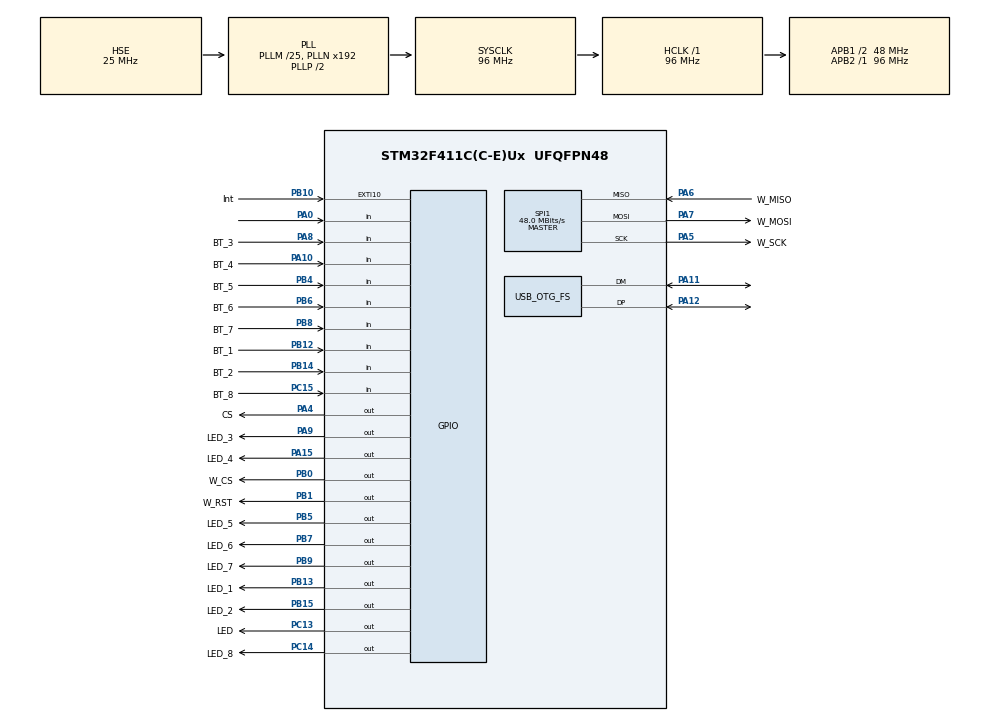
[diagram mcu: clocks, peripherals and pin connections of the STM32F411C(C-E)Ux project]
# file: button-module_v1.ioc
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AL94.I-CUBE-USBD-COMPOSITE.1.0.1.CompositeCcUSBJjCOMPOSITEJjCDCIiACM=true
AL94.I-CUBE-USBD-COMPOSITE.1.0.1.CompositeCcUSBJjCOMPOSITEJjCOMPOSITE=true
AL94.I-CUBE-USBD-COMPOSITE.1.0.1.CompositeCcUSBJjCOMPOSITEJjCore=true
AL94.I-CUBE-USBD-COMPOSITE.1.0.1.CompositeCcUSBJjCOMPOSITEJjHIDIiKEYBOARD=true
AL94.I-CUBE-USBD-COMPOSITE.1.0.1.CompositeCcUSBJjCOMPOSITEJjMSCIiBOT=true
AL94.I-CUBE-USBD-COMPOSITE.1.0.1._USBD_USE_CDC_ACM=true
AL94.I-CUBE-USBD-COMPOSITE.1.0.1._USBD_USE_HID_KEYBOARD=true
AL94.I-CUBE-USBD-COMPOSITE.1.0.1._USBD_USE_MSC=true
FATFS._MAX_SS=4096
FATFS._USE_FIND=1
FATFS._USE_LFN=2
FREERTOS.Tasks01=defaultTask,24,128,StartDefaultTask,Default,NULL,Dynamic,NULL,NULL;buttons_task,24,512,buttons_func,Default,NULL,Dynamic,NULL,NULL;cdc_task,8,512,cdc_func,Default,NULL,Dynamic,NULL,NULL;ethernet_task,8,1024,ethernet_func,Default,NULL,Dynamic,NULL,NULL
FREERTOS.configTIMER_TASK_PRIORITY=6
FREERTOS.configUSE_NEWLIB_REENTRANT=1
Mcu.Family=STM32F4
Mcu.Name=STM32F411C(C-E)Ux
Mcu.Package=UFQFPN48
NVIC.EXTI15_10_IRQn=true\:5\:0\:false\:false\:true\:true\:true\:true\:true
NVIC.OTG_FS_IRQn=true\:5\:0\:false\:false\:true\:true\:true\:true\:true
NVIC.PriorityGroup=NVIC_PRIORITYGROUP_4
NVIC.TIM1_BRK_TIM9_IRQn=true\:5\:0\:false\:false\:true\:true\:true\:true\:true
NVIC.TIM2_IRQn=true\:5\:0\:false\:false\:true\:true\:true\:true\:true
NVIC.TIM3_IRQn=true\:15\:0\:false\:false\:true\:false\:false\:true\:true
NVIC.TIM4_IRQn=true\:5\:0\:false\:false\:true\:true\:true\:true\:true
NVIC.TimeBase=TIM3_IRQn
NVIC.TimeBaseIP=TIM3
PA0-WKUP.Signal=GPIO_Input
PA10.GPIO_Label=BT_4
PA10.Signal=GPIO_Input
PA11.Mode=Device_Only
PA11.Signal=USB_OTG_FS_DM
PA12.Mode=Device_Only
PA12.Signal=USB_OTG_FS_DP
PA13.Mode=Trace_Asynchronous_SW
PA13.Signal=SYS_JTMS-SWDIO
PA14.Mode=Trace_Asynchronous_SW
PA14.Signal=SYS_JTCK-SWCLK
PA15.GPIO_Label=LED_4
PA15.Signal=GPIO_Output
PA4.GPIO_Label=CS
PA4.GPIO_Speed=GPIO_SPEED_FREQ_HIGH
PA4.PinState=GPIO_PIN_SET
PA4.Signal=GPIO_Output
PA5.GPIO_Label=W_SCK
PA5.Mode=Full_Duplex_Master
PA5.Signal=SPI1_SCK
PA6.GPIO_Label=W_MISO
PA6.Mode=Full_Duplex_Master
PA6.Signal=SPI1_MISO
PA7.GPIO_Label=W_MOSI
PA7.Mode=Full_Duplex_Master
PA7.Signal=SPI1_MOSI
PA8.GPIO_Label=BT_3
PA8.Signal=GPIO_Input
PA9.GPIO_Label=LED_3
PA9.Signal=GPIO_Output
PB0.GPIO_Label=W_CS
PB0.Signal=GPIO_Output
PB1.GPIO_Label=W_RST
PB1.Signal=GPIO_Output
PB10.GPIO_Label=Int
PB10.GPIO_ModeDefaultEXTI=GPIO_MODE_IT_FALLING
PB10.GPIO_PuPd=GPIO_PULLUP
PB10.Signal=GPXTI10
PB12.GPIO_Label=BT_1
PB12.Signal=GPIO_Input
PB13.GPIO_Label=LED_1
PB13.Signal=GPIO_Output
PB14.GPIO_Label=BT_2
PB14.Signal=GPIO_Input
PB15.GPIO_Label=LED_2
PB15.Signal=GPIO_Output
PB3.Mode=Trace_Asynchronous_SW
PB3.Signal=SYS_JTDO-SWO
PB4.GPIO_Label=BT_5
PB4.Signal=GPIO_Input
PB5.GPIO_Label=LED_5
PB5.Signal=GPIO_Output
PB6.GPIO_Label=BT_6
PB6.Signal=GPIO_Input
PB7.GPIO_Label=LED_6
PB7.Signal=GPIO_Output
PB8.GPIO_Label=BT_7
PB8.Signal=GPIO_Input
PB9.GPIO_Label=LED_7
PB9.Signal=GPIO_Output
PC13-ANTI_TAMP.GPIO_Label=LED
PC13-ANTI_TAMP.Signal=GPIO_Output
PC14-OSC32_IN.GPIO_Label=LED_8
PC14-OSC32_IN.Signal=GPIO_Output
PC15-OSC32_OUT.GPIO_Label=BT_8
PC15-OSC32_OUT.Signal=GPIO_Input
PH0\ -\ OSC_IN.Mode=HSE-External-Oscillator
PH0\ -\ OSC_IN.Signal=RCC_OSC_IN
PH1\ -\ OSC_OUT.Mode=HSE-External-Oscillator
PH1\ -\ OSC_OUT.Signal=RCC_OSC_OUT
ProjectManager.HeapSize=0x200
ProjectManager.StackSize=0x1000
ProjectManager.TargetToolchain=STM32CubeIDE
RCC.48MHZClocksFreq_Value=48000000
RCC.AHBFreq_Value=96000000
RCC.APB1CLKDivider=RCC_HCLK_DIV2
RCC.APB1Freq_Value=48000000
RCC.APB1TimFreq_Value=96000000
RCC.APB2Freq_Value=96000000
RCC.APB2TimFreq_Value=96000000
RCC.CortexFreq_Value=96000000
RCC.HCLKFreq_Value=96000000
RCC.HSE_VALUE=25000000
RCC.HSI_VALUE=16000000
RCC.LSE_VALUE=32768
RCC.PLLM=25
RCC.SYSCLKFreq_VALUE=96000000
RCC.SYSCLKSource=RCC_SYSCLKSOURCE_PLLCLK
RCC.VCOOutputFreq_Value=192000000
SPI1.BaudRatePrescaler=SPI_BAUDRATEPRESCALER_2
SPI1.CalculateBaudRate=48.0 MBits/s
SPI1.Direction=SPI_DIRECTION_2LINES
SPI1.Mode=SPI_MODE_MASTER
SPI1.VirtualType=VM_MASTER
TIM2.Period=1000-1
TIM2.Prescaler=100-1
TIM4.Period=500-1
TIM4.Prescaler=1000-1
TIM9.ClockDivision=TIM_CLOCKDIVISION_DIV2
TIM9.Period=100
TIM9.Prescaler=48000
USB_OTG_FS.VirtualMode=Device_Only
VP_AL94.I-CUBE-USBD-COMPOSITE_VS_USBJjComposite_1.0.0_1.0.1.Mode=USBJjComposite
VP_FATFS_VS_Generic.Mode=User_defined
VP_FREERTOS_VS_CMSIS_V2.Mode=CMSIS_V2
VP_SYS_VS_tim3.Mode=TIM3
VP_TIM2_VS_ClockSourceINT.Mode=Internal
VP_TIM4_VS_ClockSourceINT.Mode=Internal
VP_TIM9_VS_ClockSourceINT.Mode=Internal
board=custom

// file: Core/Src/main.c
/* USER CODE BEGIN Header */
/**
 ******************************************************************************
 * @file           : main.c
 * @brief          : Main program body
 ******************************************************************************
 * @attention
 *
 * <h2><center>&copy; Copyright (c) 2021 STMicroelectronics.
 * All rights reserved.</center></h2>
 *
 * This software component is licensed by ST under BSD 3-Clause license,
 * the "License"; You may not use this file except in compliance with the
 * License. You may obtain a copy of the License at:
 *                        opensource.org/licenses/BSD-3-Clause
 *
 ******************************************************************************
 */
/* USER CODE END Header */
#include "main.h"
#include "cmsis_os.h"
#include "fatfs.h"
#include "spi.h"
#include "tim.h"
#include "usb_otg.h"
#include "gpio.h"

/* USER CODE BEGIN Includes */

#include <stdio.h>
#include <string.h>
#include "stdlib.h"

#include "w25qxx.h"

#include "ini.h"

#include "math.h"

#include "USB.h"

#include "../config/config.h"

/* USER CODE END Includes */

/* USER CODE BEGIN PM */

#define ETH_BUFF_SIZE 255
#define MAX_BRIGHT 250
#define MIN_BRIGHT 50
#define FRONT_SIZE 20048

#define NUM_OF_BUTTONS 8

/* USER CODE END PM */

/* USER CODE BEGIN PV */

int flag_report;

//int tempRight,tempLeft;
uint32_t LED_tick;
uint32_t GESTURE_tick;

//uint8_t *front;
uint8_t ledRefreshFlag = 0;
uint32_t prevTick = 0;

//----int gesture = DIR_NONE;
//----int prevGesture = DIR_NONE;
//uint32_t gestureTik;
uint32_t lastGesture = 0;
uint16_t waTick;
//uint8_t waFlag;

extern configuration config;

/* definition and creation of LED_queue */

uint8_t flagSensorReset = 1;

FRESULT res;
FATFS fs;
DIR dir; /* Directory object */
FILINFO fno; /* File information */
uint8_t bb[_MAX_SS];

//uint8_t button_mass[2][8];

//
//uint16_t ledPins[NUM_OF_BUTTONS];
//GPIO_TypeDef *ledPorts[NUM_OF_BUTTONS];
//uint8_t ledState[NUM_OF_BUTTONS];
//uint8_t flag_led_state_update;

/* USER CODE END PV */

void SystemClock_Config(void);
void MX_FREERTOS_Init(void);
/* USER CODE BEGIN PFP */
//--------------------------------------------------------------------------------------------------
//--------------------------------------------------------------------------------------------------
//--------------------------------------------------------------------------------------------------
int _write(int file, char *ptr, int len) {
	// Implement your write code here, this is used by puts and printf for example
	int i = 0;
	for (i = 0; i < len; i++)
		ITM_SendChar((*ptr++));
	return len;
}

//--------------------------------------------------------------------------------------------------
void w25qSetBlockProtectt(uint8_t protect) {
	uint8_t temp[] = { 0x50, 0x00 };

	HAL_GPIO_WritePin(CS_GPIO_Port, CS_Pin, GPIO_PIN_RESET);
	HAL_SPI_Transmit(&hspi1, temp, 1, 100);
	HAL_GPIO_WritePin(CS_GPIO_Port, CS_Pin, GPIO_PIN_SET);

	temp[0] = 0x01;
	temp[1] = ((protect & 0x0F) << 2);

	HAL_GPIO_WritePin(CS_GPIO_Port, CS_Pin, GPIO_PIN_RESET);
	HAL_SPI_Transmit(&hspi1, temp, 2, 100);
	HAL_GPIO_WritePin(CS_GPIO_Port, CS_Pin, GPIO_PIN_RESET);
}

/* USER CODE END PFP */

int main(void)
{

  /* MCU Configuration--------------------------------------------------------*/

  /* Reset of all peripherals, Initializes the Flash interface and the Systick. */
  HAL_Init();

  /* Configure the system clock */
  SystemClock_Config();

  /* Initialize all configured peripherals */
  MX_GPIO_Init();
  MX_SPI1_Init();
  MX_TIM2_Init();
  MX_TIM4_Init();
  MX_USB_OTG_FS_PCD_Init();
  MX_FATFS_Init();
  MX_TIM9_Init();
  /* USER CODE BEGIN 2 */
	//--------------------------------------------------------------------------------------------------
	printf("Hello\r\n");

	 W25qxx_Init();
	 //W25qxx_EraseChip();
	 //res = f_mkfs("", FM_FAT, 4096, bb, _MAX_SS);

	 res = f_mount(&fs, "", 1);
	 if (res == FR_OK) {
	 printf("mount FS OK\r\n");
	 } else if (res == 13) {
	 res = f_mkfs("", FM_FAT, 4096, bb, _MAX_SS);
	 printf("Formst disk:  %d \r\n", res);
	 } else {
	 printf("mount Fail:  %d \r\n", res);
	 }

	 set_default_config();

	 res = f_opendir(&dir, "/");
	 if (res == FR_OK) {
	 res = f_findfirst(&dir, &fno, fno.fname, "*.ini");
	 if (res == FR_OK && fno.fname[0]) {
	 printf("found file  %s \r\n", fno.fname);
	 } else {
	 write_default_config();
	 }
	 }

	 res = ini_parse_fatfs("config.ini", configReader, &config);
	 if (res < 0) {
	 printf("Can't load 'config.ini', set default\n");
	 char error_string[100];
	 sprintf(error_string, "Fail read Config.ini, chek line %d", res);
	 writeErrorTxt(error_string);
	 }

	 res = f_mount(NULL, "", 1);
	 if (res != FR_OK) {
	 printf("unMount FS fail: %d\r\n", res);
	 }

	//--------------------------------------------------------------------------------------------------
	//--------------------------------------------------------------------------------------------------
  /* USER CODE END 2 */

  /* Init scheduler */
  osKernelInitialize();  /* Call init function for freertos objects (in freertos.c) */
  MX_FREERTOS_Init();

  /* Start scheduler */
  osKernelStart();

  /* We should never get here as control is now taken by the scheduler */
  /* Infinite loop */
	while (1) {

    /* USER CODE BEGIN 3 */

		//HAL_Delay(1);

	}
  /* USER CODE END 3 */
}

void SystemClock_Config(void)
{
  RCC_OscInitTypeDef RCC_OscInitStruct = {0};
  RCC_ClkInitTypeDef RCC_ClkInitStruct = {0};

  /** Configure the main internal regulator output voltage
  */
  __HAL_RCC_PWR_CLK_ENABLE();
  __HAL_PWR_VOLTAGESCALING_CONFIG(PWR_REGULATOR_VOLTAGE_SCALE1);

  /** Initializes the RCC Oscillators according to the specified parameters
  * in the RCC_OscInitTypeDef structure.
  */
  RCC_OscInitStruct.OscillatorType = RCC_OSCILLATORTYPE_HSE;
  RCC_OscInitStruct.HSEState = RCC_HSE_ON;
  RCC_OscInitStruct.PLL.PLLState = RCC_PLL_ON;
  RCC_OscInitStruct.PLL.PLLSource = RCC_PLLSOURCE_HSE;
  RCC_OscInitStruct.PLL.PLLM = 25;
  RCC_OscInitStruct.PLL.PLLN = 192;
  RCC_OscInitStruct.PLL.PLLP = RCC_PLLP_DIV2;
  RCC_OscInitStruct.PLL.PLLQ = 4;
  if (HAL_RCC_OscConfig(&RCC_OscInitStruct) != HAL_OK)
  {
    Error_Handler();
  }

  /** Initializes the CPU, AHB and APB buses clocks
  */
  RCC_ClkInitStruct.ClockType = RCC_CLOCKTYPE_HCLK|RCC_CLOCKTYPE_SYSCLK
                              |RCC_CLOCKTYPE_PCLK1|RCC_CLOCKTYPE_PCLK2;
  RCC_ClkInitStruct.SYSCLKSource = RCC_SYSCLKSOURCE_PLLCLK;
  RCC_ClkInitStruct.AHBCLKDivider = RCC_SYSCLK_DIV1;
  RCC_ClkInitStruct.APB1CLKDivider = RCC_HCLK_DIV2;
  RCC_ClkInitStruct.APB2CLKDivider = RCC_HCLK_DIV1;

  if (HAL_RCC_ClockConfig(&RCC_ClkInitStruct, FLASH_LATENCY_3) != HAL_OK)
  {
    Error_Handler();
  }
}

void HAL_TIM_PeriodElapsedCallback(TIM_HandleTypeDef *htim)
{
  if (htim->Instance == TIM3) {
    HAL_IncTick();
  }
  /* USER CODE BEGIN Callback 1 */

	if (htim->Instance == TIM9) //check if the interrupt comes from TIM1
	{
		HID_releaseButton();
	}

  /* USER CODE END Callback 1 */
}

void Error_Handler(void)
{
	__disable_irq();
	while (1) {
	}
}
